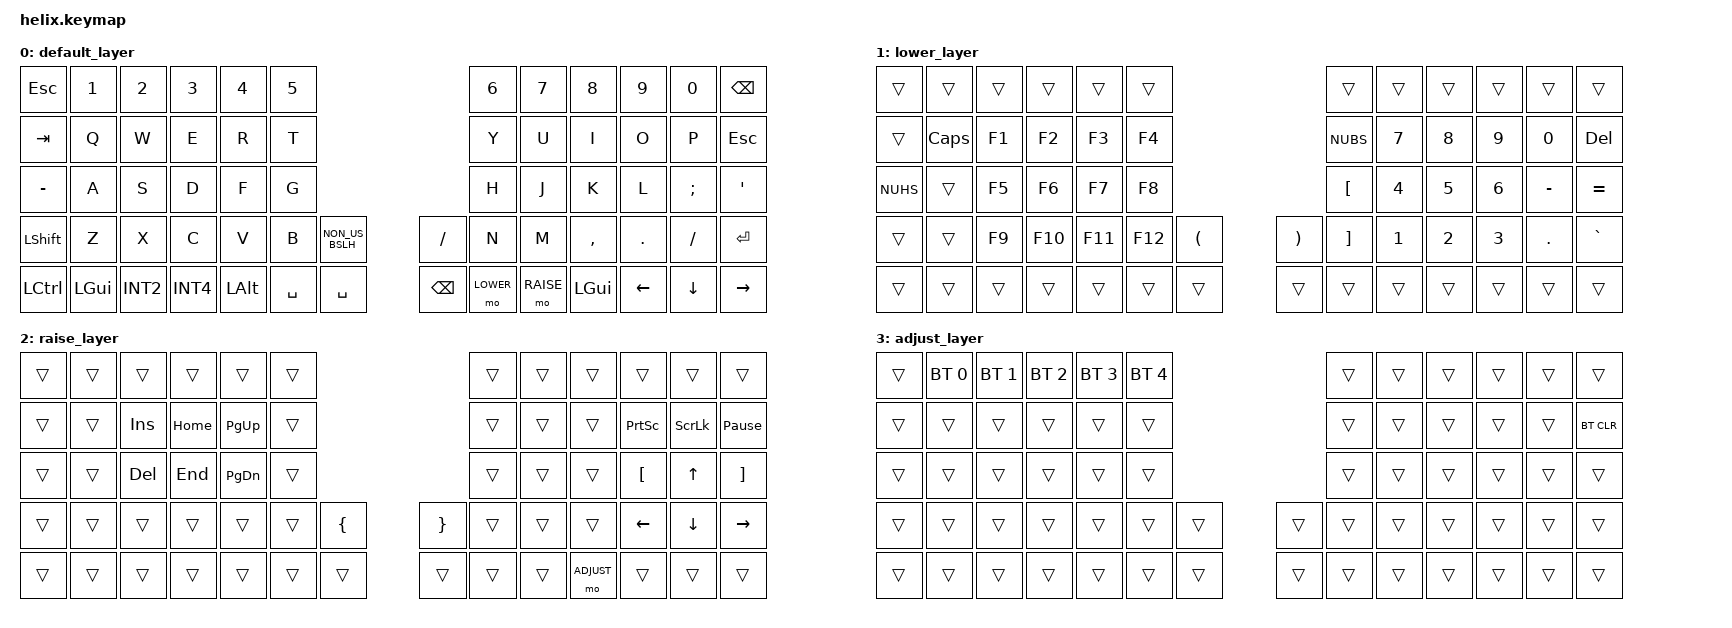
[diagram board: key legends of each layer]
/*
 * Copyright (c) 2020 The ZMK Contributors
 *
 * SPDX-License-Identifier: MIT
 */

 #include <behaviors.dtsi>
 #include <dt-bindings/zmk/keys.h>
 #include <dt-bindings/zmk/bt.h>
 #include <dt-bindings/zmk/rgb.h>
 #include <dt-bindings/zmk/ext_power.h>
 #include <dt-bindings/zmk/outputs.h>

 #define DEFAULT 0
 #define LOWER  1
 #define RAISE  2
 #define ADJUST 3

/* NOTE: At the time of the creation of this keymap, there are no specified codes for 'eisuu' and 'kana' input in ZMK.
However, 'LANG1' and 'LANG2' are fully-functioning candidates for 'kana' and 'eisuu' input respectively.
As such, those are in use within the default layer at this time.*/

/ {
       keymap {
              compatible = "zmk,keymap";
 
              default_layer {
 // ---------------------------------------------------------------------------------------------------------------------------------
 // | ESC    |   1    |   2    |   3    |   4    |   5    |                                      |   6    |   7    |   8    |   9    |   0    |  BSPC  |
 // | TAB    |   Q    |   W    |   E    |   R    |   T    |                                      |   Y    |   U    |   I    |   O    |   P    |  ESC   |
 // | MINUS  |   A    |   S    |   D    |   F    |   G    |                                      |   H    |   J    |   K    |   L    |   ;    |   '    |
 // | SHIFT  |   Z    |   X    |   C    |   V    |   B    | BSLH   |                    |  FSLH  |   N    |   M    |   ,    |   .    |   /    |  ENTER |
 // | LCTRL  |  LGUI  |  INT2  |  INT4  |  LALT  | SPACE  | SPACE  |                    |  BSPC  | LOWER  |  RAISE |  LGUI  |  LEFT  |  DOWN  |  RIGHT |
                     bindings = <
       &kp ESC    &kp N1   &kp N2   &kp N3   &kp N4    &kp N5                                     &kp N6    &kp N7   &kp N8    &kp N9   &kp N0    &kp BSPC
       &kp TAB    &kp Q    &kp W    &kp E    &kp R     &kp T                                      &kp Y     &kp U    &kp I     &kp O    &kp P     &kp ESC
       &kp MINUS  &kp A    &kp S    &kp D    &kp F     &kp G                                      &kp H     &kp J    &kp K     &kp L    &kp SEMI  &kp SQT
       &kp LSHFT  &kp Z    &kp X    &kp C    &kp V     &kp B     &kp NON_US_BSLH         &kp FSLH &kp N     &kp M    &kp COMMA &kp DOT  &kp FSLH  &kp ENTER
       &kp LCTRL  &kp LGUI &kp INT2 &kp INT4 &kp LALT  &kp SPACE &kp SPACE               &kp BSPC &mo LOWER &mo RAISE &kp LGUI &kp LEFT &kp DOWN  &kp RIGHT
                     >;
              };
              lower_layer {
 // ---------------------------------------------------------------------------------------------------------------------------------
 // |      |      |      |      |      |      |                                  |      |      |      |      |      |      |
 // |      |CAPS  | F1   | F2   | F3   | F4   |                                  |NUBS  |  7   |  8   |  9  |  0    | DEL  |
 // |NUHS  |      | F5   | F6   | F7   | F8   |                                  |LBKT  |  4   |  5   |  6  |MINUS  |EQUAL |
 // |      |      | F9   | F10  | F11  | F12  |   (  |                    |   )  |RBKT  |  1   |  2   |  3  | DOT   |GRAVE |
 // |      |      |      |      |      |      |      |                    |      |      |      |      |      |      |      |
                     bindings = <
       &trans    &trans   &trans &trans   &trans   &trans                             &trans    &trans    &trans    &trans    &trans   &trans
       &trans    &kp CAPS &kp F1 &kp F2   &kp F3   &kp F4                             &kp NUBS &kp N7 &kp N8 &kp N9 &kp N0    &kp DEL
       &kp NUHS  &trans   &kp F5 &kp F6   &kp F7   &kp F8                             &kp LBKT &kp N4 &kp N5 &kp N6 &kp MINUS &kp EQUAL 
       &trans    &trans   &kp F9 &kp F10  &kp F11  &kp F12   &kp LPAR        &kp RPAR &kp RBKT &kp N1 &kp N2 &kp N3 &kp DOT   &kp GRAVE 
       &trans    &trans   &trans &trans   &trans   &trans    &trans          &trans   &trans    &trans    &trans    &trans    &trans   &trans
                     >;
              };
              raise_layer {
 // ---------------------------------------------------------------------------------------------------------------------------------
 // |       |       |       |       |       |       |                                    |       |       |       |     |     |           |
 // |       |       |       | INS   |HOME   |PG_UP  |                                    |       |       |       |PSCRN|SLCK |PAUSE_BREAK|
 // |       |       |       | DEL   | END   |PG_DN  |                                    |       |       |       |LBKT | UP  |   RBKT    |
 // |       |       |       |       |       |       |   {   |                    |   }   |       |       |       |LEFT |DOWN |   RIGHT   |
 // |       |       |       |       |       |       |       |                    |       |ADJUST |       |       |     |     |           |
                     bindings = <
       &trans &trans &trans  &trans   &trans    &trans                       &trans &trans &trans      &trans   &trans   &trans
       &trans &trans &kp INS &kp HOME &kp PG_UP &trans                       &trans &trans &trans      &kp PSCRN &kp SLCK &kp PAUSE_BREAK
       &trans &trans &kp DEL &kp END  &kp PG_DN &trans                       &trans &trans &trans      &kp LBKT  &kp UP   &kp RBKT
       &trans &trans &trans  &trans   &trans    &trans  &kp LBRC   &kp RBRC  &trans &trans &trans      &kp LEFT  &kp DOWN &kp RIGHT
       &trans &trans &trans  &trans    &trans   &trans  &trans     &trans    &trans &trans &mo ADJUST  &trans   &trans    &trans
                     >;
              };
              adjust_layer {
 // ---------------------------------------------------------------------------------------------------------------------------------
 // |          |          |          |          |          |          |                                          |          |          |          |          |          |          |
 // |          |BT 1      |BT 2      |BT 3      |BT 4      |BT 5      |                                          |          |          |          |          |          |  BT CLR  |
 // |          |          |          |          |          |          |                                          |          |          |          |          |          |          |
 // |          |          |          |          |          |          |          |                    |          |          |          |          |          |          |          |
 // |          |          |          |          |          |          |          |                    |          |          |          |          |          |          |          |
                     bindings = <
       &trans     &bt BT_SEL 0 &bt BT_SEL 1 &bt BT_SEL 2 &bt BT_SEL 3 &bt BT_SEL 4                          &trans     &trans       &trans       &trans       &trans       &trans
       &trans     &trans       &trans       &trans       &trans       &trans                                &trans     &trans       &trans       &trans       &trans       &bt  BT_CLR
       &trans     &trans       &trans       &trans       &trans       &trans                                &trans     &trans       &trans       &trans       &trans       &trans
       &trans     &trans       &trans       &trans       &trans       &trans       &trans          &trans   &trans     &trans       &trans       &trans       &trans       &trans
       &trans     &trans       &trans       &trans       &trans       &trans       &trans          &trans   &trans     &trans       &trans       &trans       &trans       &trans
                     >;
              };
       };
};
